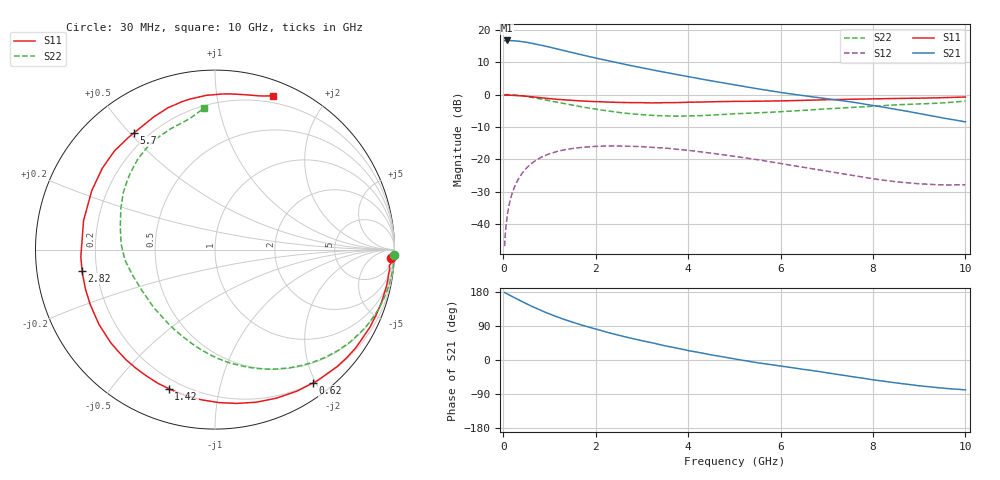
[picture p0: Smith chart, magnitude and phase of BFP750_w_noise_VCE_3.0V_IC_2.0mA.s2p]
! Infineon Technologies  Discrete & RF Semiconductors
! BFP750
! VCE =  3.0 V,  IC =  2.0 mA
! Common Emitter S-Parameters:  Jan 2016
# GHz  S  MA  R  50
!  f  S11  S21  S12  S22
! GHz  MAG  ANG  MAG  ANG  MAG  ANG  MAG  ANG
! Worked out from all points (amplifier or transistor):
!   229 points, 30 MHz to 10 GHz, reference 50 ohm
!   highest |S21| = 16.7 dB at 80 MHz (marker M1)
!   |S21| within 3 dB of that: start of sweep to 1.278 GHz
!   unconditionally stable (mu >= 1): 5.981 GHz to end of sweep
!   at 280 MHz: K = 0.03, MSG = 21.9 dB, |S12| = -27.4 dB
!   at 1.78 GHz: K = 0.18, MSG = 14.1 dB, |S12| = -16.2 dB
!   at 10 GHz: K = 1.67, MAG = 4.9 dB, |S12| = -27.8 dB
!   lowest NFmin = 0.61 dB at 450 MHz
!   S11 on the Smith chart (normalised r, x): 30 MHz: 17, -36; 620 MHz: 0.20, -1.96; 1.42 GHz: 0.15, -0.71; 2.82 GHz: 0.14, -0.08; 5.7 GHz: 0.15, +0.51; 10 GHz: 0.14, +1.44
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0.03  0.9794 -2.6  6.75 178.0  0.0046 87.7  0.9987 -1.8
0.05  0.9828 -4.6  6.807 176.2  0.0078 86.9  0.9991 -2.9
0.08  0.978 -7.2  6.812 175.0  0.0125 85.5  0.9979 -4.7
0.165  0.9741 -14.7  6.781 169.4  0.0257 80.0  0.9919 -9.8
0.3  0.9655 -26.6  6.684 160.9  0.0458 72.5  0.976 -17.6
0.45  0.9491 -39.5  6.487 151.6  0.0667 63.9  0.9482 -26.1
0.62  0.9222 -53.6  6.17 141.6  0.0873 54.6  0.9066 -35.3
0.8  0.8958 -67.5  5.813 131.6  0.1059 45.6  0.8584 -44.4
1  0.8655 -82.0  5.385 121.5  0.1221 36.4  0.803 -53.7
1.2  0.8402 -95.2  4.977 112.2  0.1347 28.1  0.7513 -62.3
1.42  0.8161 -108.4  4.557 102.9  0.1446 20.0  0.6998 -70.9
1.7  0.7943 -123.7  4.095 92.1  0.1533 10.6  0.6447 -80.9
1.92  0.7813 -134.5  3.766 84.1  0.1576 3.9  0.6074 -88.3
2.2  0.7693 -147.2  3.402 74.7  0.1606 -4.1  0.5672 -97.1
2.82  0.7499 -171.0  2.738 56.0  0.159 -19.6  0.5015 -116.1
3.4  0.7453 170.6  2.269 40.4  0.1508 -32.3  0.4711 -133.5
4  0.7612 154.4  1.893 24.9  0.1382 -44.3  0.4666 -150.8
5.1  0.7846 134.0  1.373 0.9  0.1092 -60.2  0.5076 -175.5
5.7  0.7912 124.9  1.163 -10.6  0.0939 -66.6  0.5296 172.4
6.8  0.824 110.9  0.901 -29.9  0.0697 -72.7  0.5882 151.4
8.4  0.8677 87.4  0.608 -58.8  0.0461 -68.2  0.6885 122.3
10  0.9154 69.4  0.379 -78.8  0.0406 -52.1  0.7916 94.3
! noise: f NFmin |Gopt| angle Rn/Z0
0.45  0.61  0.56  1  0.26
0.9  0.69  0.53  35  0.2
1.5  0.83  0.46  73  0.16
1.9  0.94  0.43  94  0.13
2.4  1.1  0.41  119  0.13
3.5  1.68  0.43  163  0.08
